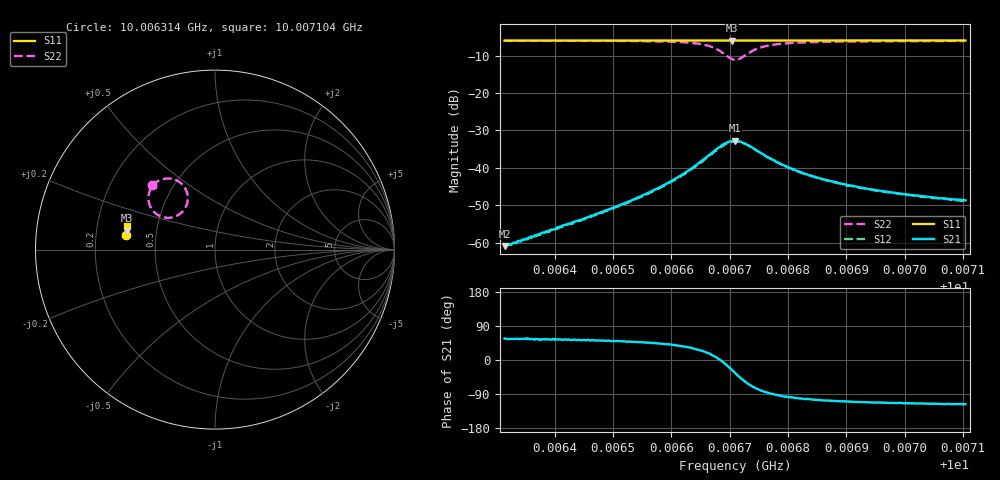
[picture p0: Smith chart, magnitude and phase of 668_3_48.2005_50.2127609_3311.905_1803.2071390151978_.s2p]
#  HZ  S  RI  R  50.00
! Rohde & Schwarz Vector Network Analyzer
! Rohde-Schwarz,ZNB20-2Port,1311601062101988,3.16
! Created: UTC 3/20/2024, 12:06:01 PM
! freq[Hz]  re:S11  im:S11  re:S21  im:S21  re:S12  im:S12  re:S22  im:S22
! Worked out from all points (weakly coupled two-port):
!   401 points, 10.006314 GHz to 10.007104 GHz, reference 50 ohm
!   highest |S21| = -32.75 dB at 10.006709 GHz (marker M1); lowest = -60.9 dB at 10.006314 GHz (marker M2)
!   lowest |S11| = -6.0 dB at 10.006703 GHz (marker M3), VSWR 3.02, Z = 16.7 + j4.69 ohm
!   |S11| at or under -10 dB: nowhere
!   |S22| runs from -11.1 to -6.0 dB; largest |S21 - S12| = 0.0019
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1.00063141e10  -0.4975 0.0803  0.000494 0.000756  0.000458 0.00077  -0.3495 0.3574
1.00063635e10  -0.4969 0.0836  0.000687 0.000988  0.000612 0.000967  -0.3448 0.3619
1.00063971e10  -0.4966 0.0858  0.000838 0.00123  0.000813 0.00125  -0.3412 0.3651
1.00064464e10  -0.4962 0.089  0.00123 0.00162  0.00112 0.00166  -0.3349 0.3706
1.00065234e10  -0.4953 0.0942  0.00229 0.00258  0.00209 0.00267  -0.3194 0.3808
1.00065787e10  -0.4946 0.0979  0.00394 0.00375  0.00364 0.00384  -0.2987 0.3904
1.00066241e10  -0.4938 0.1008  0.0071 0.00498  0.00663 0.0052  -0.2644 0.3965
1.00066577e10  -0.4929 0.1033  0.0125 0.00493  0.0119 0.00541  -0.2132 0.3853
1.00066794e10  -0.492 0.1045  0.0182 0.00136  0.0175 0.00246  -0.1669 0.3427
1.00066912e10  -0.4913 0.1046  0.0208 -0.00325  0.0203 -0.00182  -0.1518 0.2943
1.00067031e10  -0.4911 0.1049  0.0206 -0.00983  0.0208 -0.00809  -0.1646 0.2344
1.0006709e10  -0.4912 0.1048  0.0191 -0.013  0.0196 -0.0112  -0.1846 0.2081
1.00067169e10  -0.4913 0.105  0.0159 -0.016  0.0168 -0.0146  -0.2203 0.1846
1.00067267e10  -0.4916 0.1053  0.0114 -0.0178  0.0122 -0.0168  -0.2681 0.1771
1.00067406e10  -0.492 0.1061  0.00579 -0.0173  0.00693 -0.0167  -0.3186 0.1932
1.00067564e10  -0.4922 0.1073  0.00221 -0.0152  0.00303 -0.0149  -0.35 0.2223
1.00067919e10  -0.4923 0.1098  -0.00119 -0.0109  -0.000443 -0.0108  -0.3701 0.2729
1.00068413e10  -0.4919 0.1133  -0.0019 -0.00752  -0.00153 -0.00752  -0.3685 0.3086
1.00068985e10  -0.4911 0.1172  -0.00198 -0.00566  -0.00169 -0.00566  -0.3622 0.3294
1.00069735e10  -0.4901 0.122  -0.00188 -0.00435  -0.00163 -0.00441  -0.3544 0.3447
1.00070426e10  -0.4892 0.1265  -0.00178 -0.00366  -0.0015 -0.00369  -0.3485 0.3541
1.00071038e10  -0.4884 0.1303  -0.00167 -0.00327  -0.00147 -0.0033  -0.3438 0.3604
